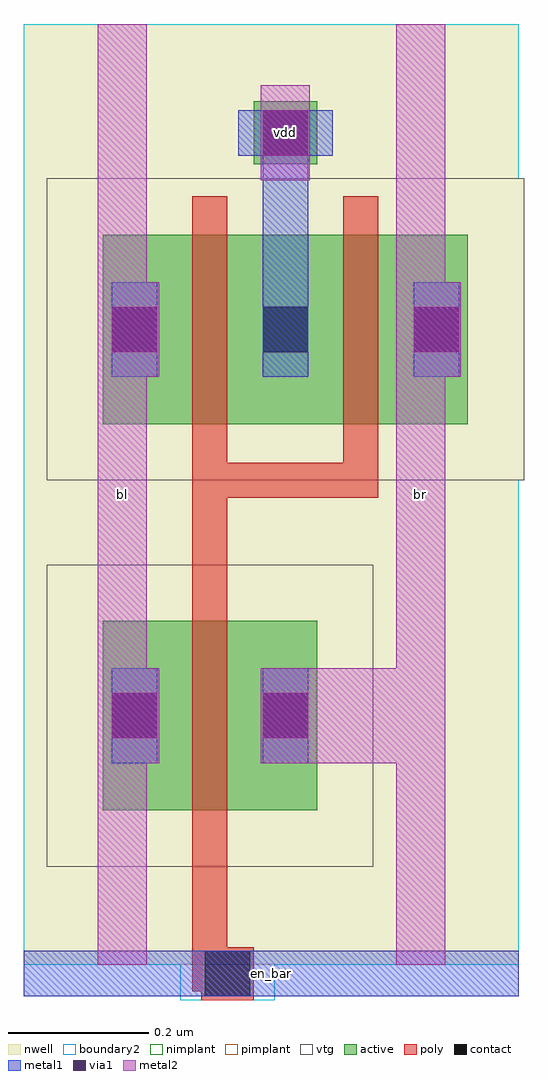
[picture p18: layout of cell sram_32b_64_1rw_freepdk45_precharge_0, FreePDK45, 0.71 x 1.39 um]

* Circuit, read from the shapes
.subckt sram_32b_64_1rw_freepdk45_precharge_0 bl br en_bar vdd
M1 br en_bar bl vdd pfet w=0.27u l=0.05u
M2 vdd en_bar bl vdd pfet w=0.27u l=0.05u
M3 br en_bar vdd vdd pfet w=0.27u l=0.05u
.ends

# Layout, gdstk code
import gdstk
lib = gdstk.Library(unit=1e-6, precision=5e-10)
def R(c, l, rs):  # rectangles x0, y0, x1, y1
    for r in rs: c.add(gdstk.rectangle(r[:2], r[2:], *l))
active = (1, 0)
nwell = (3, 0)
nimplant = (4, 0)
pimplant = (5, 0)
vtg = (6, 0)
poly = (9, 0)
contact = (10, 0)
metal1 = (11, 0)
via1 = (12, 0)
metal2 = (13, 0)
boundary2 = (239, 0)

sram_32b_64_1rw_freepdk4 = lib.new_cell('sram_32b_64_1rw_freepdk45_contact_11')
R(sram_32b_64_1rw_freepdk4, active, [(0,0.0225,0.09,0.1125)])
R(sram_32b_64_1rw_freepdk4, nwell, [(-0.055,-0.0325,0.145,0.1675)])
R(sram_32b_64_1rw_freepdk4, pimplant, [(0,0.0225,0.09,0.1125)])
R(sram_32b_64_1rw_freepdk4, contact, [(0.0125,0.035,0.0775,0.1)])
R(sram_32b_64_1rw_freepdk4, metal1, [(0.0125,0,0.0775,0.135)])
R(sram_32b_64_1rw_freepdk4, boundary2, [(-0.055,-0.0325,0.145,0.1675)])

c_sram_32b_64_1rw_freepdk4 = lib.new_cell('sram_32b_64_1rw_freepdk45_pmos_m1_w0_270_sm1_dm1')
R(c_sram_32b_64_1rw_freepdk4, active, [(0,0,0.305,0.27)])
R(c_sram_32b_64_1rw_freepdk4, nwell, [(-0.08,-0.08,0.385,0.35)])
R(c_sram_32b_64_1rw_freepdk4, pimplant, [(0,0,0.305,0.27)])
R(c_sram_32b_64_1rw_freepdk4, vtg, [(-0.08,-0.08,0.385,0.35)])
R(c_sram_32b_64_1rw_freepdk4, poly, [(0.1275,-0.055,0.1775,0.325), (0.1275,-0.055,0.1775,0.325)])
R(c_sram_32b_64_1rw_freepdk4, metal1, [(0.0125,0.0675,0.0775,0.2025), (0.2275,0.0675,0.2925,0.2025)])
R(c_sram_32b_64_1rw_freepdk4, boundary2, [(-0.08,-0.08,0.385,0.35)])
c_sram_32b_64_1rw_freepdk4.add(gdstk.Reference(sram_32b_64_1rw_freepdk4, (0,0.0675)))
c_sram_32b_64_1rw_freepdk4.add(gdstk.Reference(sram_32b_64_1rw_freepdk4, (0.215,0.0675)))
c_sram_32b_64_1rw_freepdk4.add(gdstk.Label('G', (0.1525,0.135), layer=9, texttype=0))
c_sram_32b_64_1rw_freepdk4.add(gdstk.Label('S', (0.045,0.135), layer=11, texttype=0))
c_sram_32b_64_1rw_freepdk4.add(gdstk.Label('D', (0.26,0.135), layer=11, texttype=0))

c_sram_32b_64_1rw_freepdk4_ = lib.new_cell('sram_32b_64_1rw_freepdk45_contact_14')
R(c_sram_32b_64_1rw_freepdk4_, poly, [(0.03,0,0.105,0.075)])
R(c_sram_32b_64_1rw_freepdk4_, contact, [(0.035,0.005,0.1,0.07)])
R(c_sram_32b_64_1rw_freepdk4_, metal1, [(0,0.005,0.135,0.07)])
R(c_sram_32b_64_1rw_freepdk4_, boundary2, [(0,0,0.135,0.075)])

c_sram_32b_64_1rw_freepdk4__ = lib.new_cell('sram_32b_64_1rw_freepdk45_contact_22')
R(c_sram_32b_64_1rw_freepdk4__, active, [(0.0225,0,0.1125,0.09)])
R(c_sram_32b_64_1rw_freepdk4__, nwell, [(-0.0325,-0.055,0.1675,0.145)])
R(c_sram_32b_64_1rw_freepdk4__, nimplant, [(0.0225,0,0.1125,0.09)])
R(c_sram_32b_64_1rw_freepdk4__, contact, [(0.035,0.0125,0.1,0.0775)])
R(c_sram_32b_64_1rw_freepdk4__, metal1, [(0,0.0125,0.135,0.0775)])
R(c_sram_32b_64_1rw_freepdk4__, boundary2, [(-0.0325,-0.055,0.1675,0.145)])

c_sram_32b_64_1rw_freepdk4___ = lib.new_cell('sram_32b_64_1rw_freepdk45_contact_17')
R(c_sram_32b_64_1rw_freepdk4___, metal1, [(0,0.035,0.135,0.1)])
R(c_sram_32b_64_1rw_freepdk4___, via1, [(0.035,0.035,0.1,0.1)])
R(c_sram_32b_64_1rw_freepdk4___, metal2, [(0.0325,0,0.1025,0.135)])
R(c_sram_32b_64_1rw_freepdk4___, boundary2, [(0,0,0.135,0.135)])

c_sram_32b_64_1rw_freepdk4____ = lib.new_cell('sram_32b_64_1rw_freepdk45_contact_23')
R(c_sram_32b_64_1rw_freepdk4____, metal1, [(0.0025,0,0.0675,0.135)])
R(c_sram_32b_64_1rw_freepdk4____, via1, [(0.0025,0.035,0.0675,0.1)])
R(c_sram_32b_64_1rw_freepdk4____, metal2, [(0,0,0.07,0.135)])
R(c_sram_32b_64_1rw_freepdk4____, boundary2, [(0,0,0.07,0.135)])

c_sram_32b_64_1rw_freepdk4_____ = lib.new_cell('sram_32b_64_1rw_freepdk45_precharge_0')
R(c_sram_32b_64_1rw_freepdk4_____, nwell, [(0,0,0.705,1.34)])
R(c_sram_32b_64_1rw_freepdk4_____, poly, [(0.24,-0.0375,0.29,0.0125), (0.265,-0.0375,0.29,0.0125), (0.24,-0.0125,0.29,0.165), (0.24,0.545,0.29,0.715), (0.24,0.665,0.505,0.715)])
R(c_sram_32b_64_1rw_freepdk4_____, metal1, [(0,-0.045,0.705,0.02), (0.34,0.905,0.405,1.185), (0.34,1.1525,0.405,1.2175)])
R(c_sram_32b_64_1rw_freepdk4_____, metal2, [(0.105,0,0.175,1.34), (0.105,0,0.175,1.34), (0.53,0,0.6,1.34), (0.53,0,0.6,1.34), (0.14,0.2875,0.1575,0.4225), (0.3725,0.2875,0.565,0.4225), (0.14,0.8375,0.1575,0.9725), (0.565,0.8375,0.5875,0.9725)])
R(c_sram_32b_64_1rw_freepdk4_____, boundary2, [(0,0,0.705,1.34)])
c_sram_32b_64_1rw_freepdk4_____.add(gdstk.Reference(c_sram_32b_64_1rw_freepdk4, (0.1125,0.22)))
c_sram_32b_64_1rw_freepdk4_____.add(gdstk.Reference(c_sram_32b_64_1rw_freepdk4, (0.1125,0.77)))
c_sram_32b_64_1rw_freepdk4_____.add(gdstk.Reference(c_sram_32b_64_1rw_freepdk4, (0.3275,0.77)))
c_sram_32b_64_1rw_freepdk4_____.add(gdstk.Reference(c_sram_32b_64_1rw_freepdk4_, (0.2225,-0.05)))
c_sram_32b_64_1rw_freepdk4_____.add(gdstk.Reference(c_sram_32b_64_1rw_freepdk4__, (0.305,1.14)))
c_sram_32b_64_1rw_freepdk4_____.add(gdstk.Reference(c_sram_32b_64_1rw_freepdk4___, (0.305,1.1175)))
c_sram_32b_64_1rw_freepdk4_____.add(gdstk.Reference(c_sram_32b_64_1rw_freepdk4____, (0.1225,0.2875)))
c_sram_32b_64_1rw_freepdk4_____.add(gdstk.Reference(c_sram_32b_64_1rw_freepdk4____, (0.3375,0.2875)))
c_sram_32b_64_1rw_freepdk4_____.add(gdstk.Reference(c_sram_32b_64_1rw_freepdk4____, (0.1225,0.8375)))
c_sram_32b_64_1rw_freepdk4_____.add(gdstk.Reference(c_sram_32b_64_1rw_freepdk4____, (0.5525,0.8375)))
c_sram_32b_64_1rw_freepdk4_____.add(gdstk.Label('en_bar', (0.3525,-0.0125), layer=11, texttype=0))
c_sram_32b_64_1rw_freepdk4_____.add(gdstk.Label('vdd', (0.3725,1.185), layer=11, texttype=0))
c_sram_32b_64_1rw_freepdk4_____.add(gdstk.Label('bl', (0.14,0.67), layer=13, texttype=0))
c_sram_32b_64_1rw_freepdk4_____.add(gdstk.Label('br', (0.565,0.67), layer=13, texttype=0))

lib.write_gds('sram_32b_64_1rw_freepdk45_precharge_0.gds')
